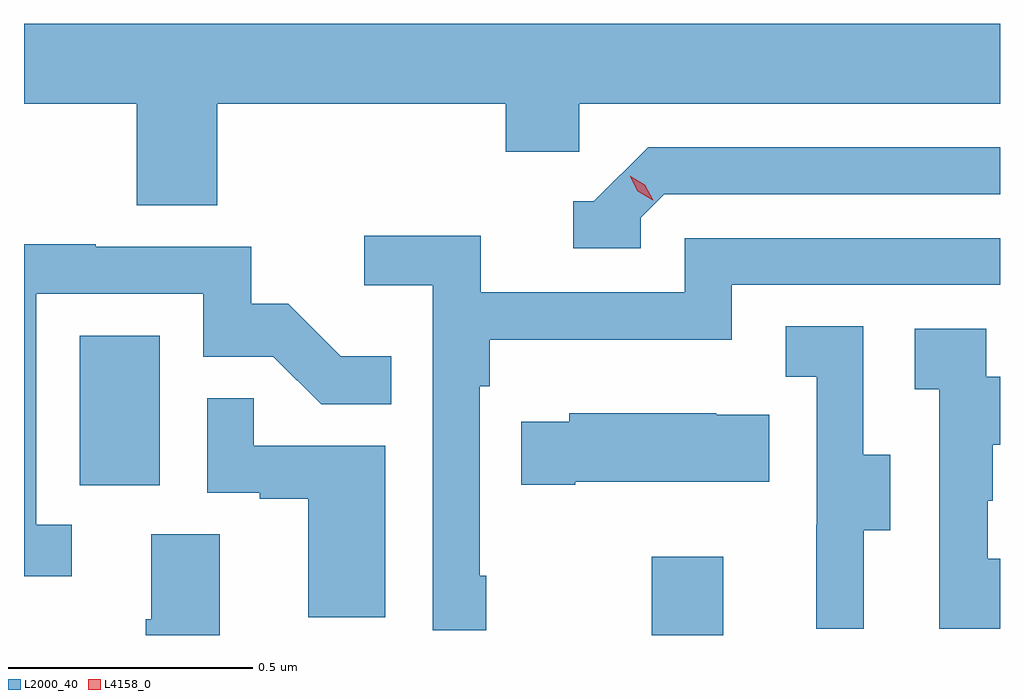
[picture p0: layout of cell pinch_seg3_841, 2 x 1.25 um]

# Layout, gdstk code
import gdstk
lib = gdstk.Library(unit=1e-6, precision=1e-09)
def R(c, l, rs):  # rectangles x0, y0, x1, y1
    for r in rs: c.add(gdstk.rectangle(r[:2], r[2:], *l))
def P(c, l, *ps):  # polygons
    for p in ps: c.add(gdstk.Polygon(p, *l))
L2000_40 = (2000, 40)
L4158_0 = (4158, 0)

pinch_seg3_841 = lib.new_cell('pinch_seg3_841')
R(pinch_seg3_841, L2000_40, [(888.214,726.467,888.361,726.628), (887.042,726.774,887.206,727.081)])
P(pinch_seg3_841, L2000_40, [(887.324,727.556),(887.915,727.556),(887.915,727.458),(888.066,727.458),(888.066,727.556),(888.928,727.556),(888.928,727.72),(886.928,727.72),(886.928,727.556),(887.159,727.556),(887.159,727.348),(887.324,727.348)],
  [(888.192,727.323),(888.24,727.371),(888.928,727.371),(888.928,727.467),(888.207,727.467),(888.096,727.356),(888.053,727.356),(888.053,727.26),(888.192,727.26)],
  [(887.875,726.589),(887.862,726.589),(887.862,726.977),(887.882,726.977),(887.882,727.073),(888.378,727.073),(888.378,727.185),(888.928,727.185),(888.928,727.281),(888.282,727.281),(888.282,727.17),(887.864,727.17),(887.864,727.286),(887.625,727.286),(887.625,727.184),(887.766,727.184),(887.766,726.477),(887.875,726.477)],
  [(887.026,726.693),(886.953,726.693),(886.953,727.167),(887.295,727.167),(887.295,727.038),(887.439,727.038),(887.537,726.94),(887.681,726.94),(887.681,727.039),(887.577,727.039),(887.47,727.146),(887.394,727.146),(887.394,727.263),(887.075,727.263),(887.075,727.268),(886.928,727.268),(886.928,726.588),(887.026,726.588)],
  [(888.649,726.682),(888.703,726.682),(888.703,726.837),(888.648,726.837),(888.648,727.1),(888.489,727.1),(888.489,726.997),(888.552,726.997),(888.552,726.693),(888.551,726.693),(888.551,726.48),(888.649,726.48)],
  [(888.928,726.624),(888.903,726.624),(888.903,726.743),(888.913,726.743),(888.913,726.857),(888.928,726.857),(888.928,726.997),(888.9,726.997),(888.9,727.095),(888.753,727.095),(888.753,726.971),(888.804,726.971),(888.804,726.48),(888.928,726.48)],
  [(887.668,726.855),(887.399,726.855),(887.399,726.953),(887.304,726.953),(887.304,726.759),(887.411,726.759),(887.411,726.747),(887.51,726.747),(887.51,726.504),(887.668,726.504)],
  [(888.058,726.782),(888.455,726.782),(888.455,726.919),(888.347,726.919),(888.347,726.922),(888.045,726.922),(888.045,726.904),(887.947,726.904),(887.947,726.775),(888.058,726.775)],
  [(887.329,726.674),(887.189,726.674),(887.189,726.5),(887.177,726.5),(887.177,726.467),(887.329,726.467)])
P(pinch_seg3_841, L4158_0, [(888.216,727.358),(888.186,727.377),(888.169,727.409),(888.169,727.409),(888.169,727.409),(888.2,727.39),(888.217,727.358),(888.217,727.358)])

lib.write_gds('pinch_seg3_841.gds')
